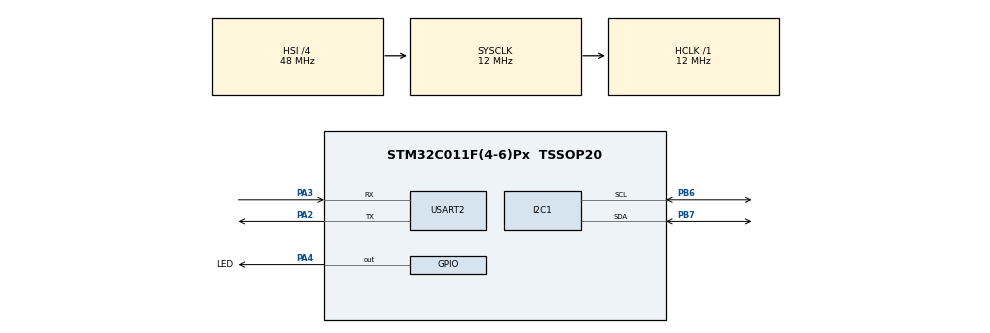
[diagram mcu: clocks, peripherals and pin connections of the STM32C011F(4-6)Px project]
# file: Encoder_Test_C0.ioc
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I2C1.Timing=0x40000A0B
Mcu.Family=STM32C0
Mcu.Name=STM32C011F(4-6)Px
Mcu.Package=TSSOP20
NVIC.TIM3_IRQn=true\:0\:0\:false\:false\:true\:true\:true\:true
PA13.Mode=Serial_Wire
PA13.Signal=DEBUG_SWDIO
PA14-BOOT0.Mode=Serial_Wire
PA14-BOOT0.Signal=DEBUG_SWCLK
PA2.Mode=Asynchronous
PA2.Signal=USART2_TX
PA3.Mode=Asynchronous
PA3.Signal=USART2_RX
PA4.GPIO_Label=LED
PA4.Signal=GPIO_Output
PB6.Mode=I2C
PB6.Signal=I2C1_SCL
PB7.Mode=I2C
PB7.Signal=I2C1_SDA
ProjectManager.HeapSize=0x200
ProjectManager.StackSize=0x400
ProjectManager.TargetToolchain=STM32CubeIDE
RCC.ADCFreq_Value=12000000
RCC.AHBFreq_Value=12000000
RCC.CortexFreq_Value=12000000
RCC.EXTERNAL_CLOCK_VALUE=12288000
RCC.HCLKFreq_Value=12000000
RCC.HSE_VALUE=8000000
RCC.HSI_VALUE=48000000
RCC.LSE_VALUE=32768
RCC.SYSCLKFreq_VALUE=12000000
TIM3.Prescaler=12-1
USART2.VirtualMode-Asynchronous=VM_ASYNC
VP_TIM3_VS_ClockSourceINT.Mode=Internal
board=custom

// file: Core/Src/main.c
/* USER CODE BEGIN Header */
/**
  ******************************************************************************
  * @file           : main.c
  * @brief          : Main program body
  ******************************************************************************
  * @attention
  *
  * Copyright (c) 2024 STMicroelectronics.
  * All rights reserved.
  *
  * This software is licensed under terms that can be found in the LICENSE file
  * in the root directory of this software component.
  * If no LICENSE file comes with this software, it is provided AS-IS.
  *
  ******************************************************************************
  */
/* USER CODE END Header */
#include "main.h"

I2C_HandleTypeDef hi2c1;

TIM_HandleTypeDef htim3;

UART_HandleTypeDef huart2;

/* USER CODE BEGIN PV */
static uint8_t AS5600_ADDR = 0x36 << 1;
static uint8_t ANGLE_ADDR = 0x0E;
uint8_t rcvBuf[2];
long totalAng = 0;
long ptotalAng = 0;
uint16_t Angle;
uint16_t pAngle;
volatile uint32_t m_counter;
unsigned long micro_time;
unsigned long pmicro_time;

int16_t dtime;
int16_t speed;
int16_t pspeed;

uint8_t sndBuf[3] = {250, 0, 0};

/* USER CODE END PV */

void SystemClock_Config(void);
static void MX_GPIO_Init(void);
static void MX_I2C1_Init(void);
static void MX_TIM3_Init(void);
static void MX_USART2_UART_Init(void);

/* USER CODE BEGIN 0 */
uint64_t readCounter()
{
  return (m_counter*65535) + TIM3->CNT;
}

void HAL_TIM_PeriodElapsedCallback(TIM_HandleTypeDef *htim)
{
    if (htim == &htim3){
        m_counter++;
    }
}

/* USER CODE END 0 */

int main(void)
{

  /* MCU Configuration--------------------------------------------------------*/

  /* Reset of all peripherals, Initializes the Flash interface and the Systick. */
  HAL_Init();

  /* Configure the system clock */
  SystemClock_Config();

  /* Initialize all configured peripherals */
  MX_GPIO_Init();
  MX_I2C1_Init();
  MX_TIM3_Init();
  MX_USART2_UART_Init();
  /* USER CODE BEGIN 2 */
  HAL_TIM_Base_Start_IT(&htim3);
  HAL_GPIO_WritePin(LED_GPIO_Port, LED_Pin,  GPIO_PIN_SET);

  /* USER CODE END 2 */

  /* Infinite loop */
  while (1)
  {

    /* USER CODE BEGIN 3 */

    HAL_I2C_Master_Transmit(&hi2c1, AS5600_ADDR, &ANGLE_ADDR, 1, 1000);
    HAL_I2C_Master_Receive(&hi2c1, AS5600_ADDR, &rcvBuf, 2, 1000);
    Angle = rcvBuf[0]*256 + rcvBuf[1];

    if(Angle-pAngle>0 && abs(Angle-pAngle)<4000){
      totalAng = totalAng + (Angle-pAngle);
    }else if(Angle-pAngle<0 && abs(Angle-pAngle)<4000){
      totalAng = totalAng + (Angle-pAngle);
    }else if(Angle-pAngle>0 && abs(Angle-pAngle)>4000){
      totalAng = totalAng - ((4095-Angle)+pAngle);
    }else if(Angle-pAngle<0 && abs(Angle-pAngle)>4000){
      totalAng = totalAng + Angle + (4095-pAngle);
    }else{
      totalAng = totalAng;
    }

    micro_time = readCounter();
    dtime = micro_time - pmicro_time;
    speed = (totalAng - ptotalAng)*7666/ dtime;
    speed = (0.8*speed) + (0.2*pspeed);

    speed += 1000;
    for(int i = 1; i <3 ;i++){
    	sndBuf[i] = speed%100;
    	speed = (int)speed/100;
    }
//    uint8_t abc = 99;

    HAL_UART_Transmit(&huart2, &sndBuf, 3, 5);

    ptotalAng = totalAng;
    pAngle = Angle;
    pmicro_time = micro_time;
    pspeed = speed;

  }
  /* USER CODE END 3 */
}

void SystemClock_Config(void)
{
  RCC_OscInitTypeDef RCC_OscInitStruct = {0};
  RCC_ClkInitTypeDef RCC_ClkInitStruct = {0};

  /** Initializes the RCC Oscillators according to the specified parameters
  * in the RCC_OscInitTypeDef structure.
  */
  RCC_OscInitStruct.OscillatorType = RCC_OSCILLATORTYPE_HSI;
  RCC_OscInitStruct.HSIState = RCC_HSI_ON;
  RCC_OscInitStruct.HSIDiv = RCC_HSI_DIV4;
  RCC_OscInitStruct.HSICalibrationValue = RCC_HSICALIBRATION_DEFAULT;
  if (HAL_RCC_OscConfig(&RCC_OscInitStruct) != HAL_OK)
  {
    Error_Handler();
  }

  /** Initializes the CPU, AHB and APB buses clocks
  */
  RCC_ClkInitStruct.ClockType = RCC_CLOCKTYPE_HCLK|RCC_CLOCKTYPE_SYSCLK
                              |RCC_CLOCKTYPE_PCLK1;
  RCC_ClkInitStruct.SYSCLKSource = RCC_SYSCLKSOURCE_HSI;
  RCC_ClkInitStruct.SYSCLKDivider = RCC_SYSCLK_DIV1;
  RCC_ClkInitStruct.AHBCLKDivider = RCC_HCLK_DIV1;
  RCC_ClkInitStruct.APB1CLKDivider = RCC_APB1_DIV1;

  if (HAL_RCC_ClockConfig(&RCC_ClkInitStruct, FLASH_LATENCY_0) != HAL_OK)
  {
    Error_Handler();
  }
}

static void MX_I2C1_Init(void)
{

  hi2c1.Instance = I2C1;
  hi2c1.Init.Timing = 0x40000A0B;
  hi2c1.Init.OwnAddress1 = 0;
  hi2c1.Init.AddressingMode = I2C_ADDRESSINGMODE_7BIT;
  hi2c1.Init.DualAddressMode = I2C_DUALADDRESS_DISABLE;
  hi2c1.Init.OwnAddress2 = 0;
  hi2c1.Init.OwnAddress2Masks = I2C_OA2_NOMASK;
  hi2c1.Init.GeneralCallMode = I2C_GENERALCALL_DISABLE;
  hi2c1.Init.NoStretchMode = I2C_NOSTRETCH_DISABLE;
  if (HAL_I2C_Init(&hi2c1) != HAL_OK)
  {
    Error_Handler();
  }

  /** Configure Analogue filter
  */
  if (HAL_I2CEx_ConfigAnalogFilter(&hi2c1, I2C_ANALOGFILTER_ENABLE) != HAL_OK)
  {
    Error_Handler();
  }

  /** Configure Digital filter
  */
  if (HAL_I2CEx_ConfigDigitalFilter(&hi2c1, 0) != HAL_OK)
  {
    Error_Handler();
  }

}

static void MX_TIM3_Init(void)
{

  TIM_ClockConfigTypeDef sClockSourceConfig = {0};
  TIM_MasterConfigTypeDef sMasterConfig = {0};

  htim3.Instance = TIM3;
  htim3.Init.Prescaler = 12-1;
  htim3.Init.CounterMode = TIM_COUNTERMODE_UP;
  htim3.Init.Period = 65535;
  htim3.Init.ClockDivision = TIM_CLOCKDIVISION_DIV1;
  htim3.Init.AutoReloadPreload = TIM_AUTORELOAD_PRELOAD_DISABLE;
  if (HAL_TIM_Base_Init(&htim3) != HAL_OK)
  {
    Error_Handler();
  }
  sClockSourceConfig.ClockSource = TIM_CLOCKSOURCE_INTERNAL;
  if (HAL_TIM_ConfigClockSource(&htim3, &sClockSourceConfig) != HAL_OK)
  {
    Error_Handler();
  }
  sMasterConfig.MasterOutputTrigger = TIM_TRGO_RESET;
  sMasterConfig.MasterSlaveMode = TIM_MASTERSLAVEMODE_DISABLE;
  if (HAL_TIMEx_MasterConfigSynchronization(&htim3, &sMasterConfig) != HAL_OK)
  {
    Error_Handler();
  }

}

static void MX_USART2_UART_Init(void)
{

  huart2.Instance = USART2;
  huart2.Init.BaudRate = 115200;
  huart2.Init.WordLength = UART_WORDLENGTH_8B;
  huart2.Init.StopBits = UART_STOPBITS_1;
  huart2.Init.Parity = UART_PARITY_NONE;
  huart2.Init.Mode = UART_MODE_TX_RX;
  huart2.Init.HwFlowCtl = UART_HWCONTROL_NONE;
  huart2.Init.OverSampling = UART_OVERSAMPLING_16;
  huart2.Init.OneBitSampling = UART_ONE_BIT_SAMPLE_DISABLE;
  huart2.Init.ClockPrescaler = UART_PRESCALER_DIV1;
  huart2.AdvancedInit.AdvFeatureInit = UART_ADVFEATURE_NO_INIT;
  if (HAL_UART_Init(&huart2) != HAL_OK)
  {
    Error_Handler();
  }

}

static void MX_GPIO_Init(void)
{
  GPIO_InitTypeDef GPIO_InitStruct = {0};

  /* GPIO Ports Clock Enable */
  __HAL_RCC_GPIOB_CLK_ENABLE();
  __HAL_RCC_GPIOA_CLK_ENABLE();

  /*Configure GPIO pin Output Level */
  HAL_GPIO_WritePin(LED_GPIO_Port, LED_Pin, GPIO_PIN_RESET);

  /*Configure GPIO pin : LED_Pin */
  GPIO_InitStruct.Pin = LED_Pin;
  GPIO_InitStruct.Mode = GPIO_MODE_OUTPUT_PP;
  GPIO_InitStruct.Pull = GPIO_NOPULL;
  GPIO_InitStruct.Speed = GPIO_SPEED_FREQ_LOW;
  HAL_GPIO_Init(LED_GPIO_Port, &GPIO_InitStruct);

}

void Error_Handler(void)
{
  __disable_irq();
  while (1)
  {
  }
}
